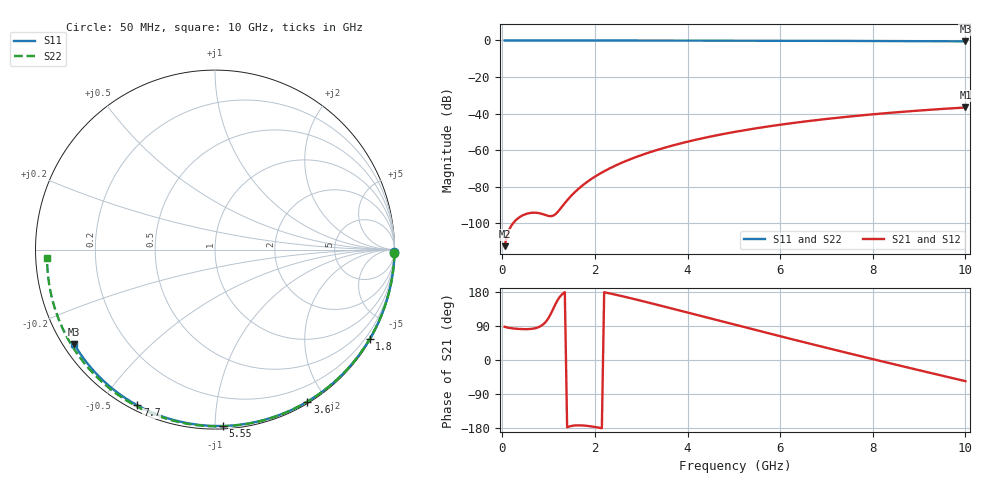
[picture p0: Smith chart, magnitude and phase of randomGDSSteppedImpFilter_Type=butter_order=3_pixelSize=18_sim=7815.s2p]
! freq	dB(S11)	phase(S11)	dB(S12)	phase(S12)
!  dB(S21)	phase(S21)	dB(S22)	phase(S22)
!S-par simulation data
#  GHz  S  DB  R 50
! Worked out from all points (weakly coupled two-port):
!   200 points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, 50 MHz to 10 GHz, reference 50 ohm
!   highest |S21| = -36.65 dB at 10 GHz (marker M1); lowest = -112.5 dB at 50 MHz (marker M2)
!   lowest |S11| = -0.5 dB at 10 GHz (marker M3), VSWR 35.23, Z = 1.55 - j15.2 ohm
!   |S11| at or under -10 dB: nowhere
!   |S22| runs from -0.6 to 0.0 dB; largest |S21 - S12| = 0
!   S11 on the Smith chart (normalised r, x): 50 MHz: open; 1.8 GHz: 0.03, -3.72; 3.6 GHz: 0.02, -1.78; 5.55 GHz: 0.02, -1.05; 7.7 GHz: 0.02, -0.62; 10 GHz: 0.03, -0.30
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0.05  -0.00 -0.9  -112.50 87.8  -112.50 87.8  -0.00 -1.0
0.4  -0.01 -6.8  -96.20 81.7  -96.20 81.7  -0.01 -8.3
0.8  -0.02 -13.5  -94.49 87.6  -94.49 87.6  -0.02 -16.6
1.2  -0.03 -20.2  -93.69 159.0  -93.69 159.0  -0.03 -24.8
1.65  -0.04 -27.6  -81.01 -172.4  -81.01 -172.4  -0.04 -33.8
1.7  -0.04 -28.5  -79.93 -172.5  -79.93 -172.5  -0.04 -34.8
1.75  -0.04 -29.3  -78.91 -172.8  -78.91 -172.8  -0.05 -35.8
1.8  -0.04 -30.1  -77.94 -173.4  -77.94 -173.4  -0.05 -36.8
2.1  -0.04 -35.0  -72.95 -178.8  -72.95 -178.8  -0.05 -42.8
2.5  -0.05 -41.4  -67.77 170.9  -67.77 170.9  -0.06 -50.6
2.9  -0.06 -47.8  -63.64 159.3  -63.64 159.3  -0.08 -58.2
3.4  -0.07 -55.6  -59.44 144.0  -59.44 144.0  -0.09 -67.6
3.6  -0.08 -58.7  -57.98 137.8  -57.98 137.8  -0.10 -71.3
4.3  -0.10 -69.3  -53.61 115.8  -53.61 115.8  -0.12 -83.9
5.05  -0.12 -80.2  -49.87 92.2  -49.87 92.2  -0.15 -96.9
5.55  -0.14 -87.4  -47.76 76.6  -47.76 76.6  -0.17 -105.3
6.1  -0.17 -95.0  -45.74 59.6  -45.74 59.6  -0.20 -114.4
6.7  -0.20 -103.2  -43.81 41.3  -43.81 41.3  -0.24 -124.1
7.7  -0.27 -116.5  -41.10 11.2  -41.10 11.2  -0.32 -140.0
8.35  -0.32 -124.9  -39.62 -8.0  -39.62 -8.0  -0.38 -150.3
9.2  -0.40 -135.9  -37.96 -32.8  -37.96 -32.8  -0.47 -163.9
10  -0.49 -146.1  -36.65 -55.8  -36.65 -55.8  -0.57 -177.1
